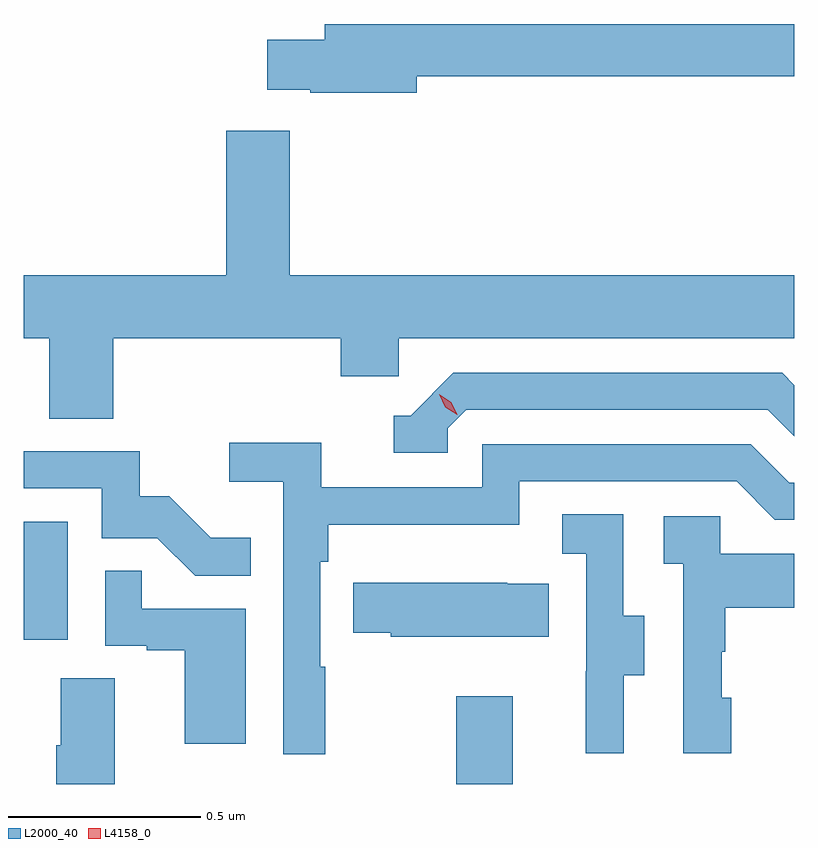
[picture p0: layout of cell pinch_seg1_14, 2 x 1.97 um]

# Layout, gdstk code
import gdstk
lib = gdstk.Library(unit=1e-6, precision=1e-09)
def R(c, l, rs):  # rectangles x0, y0, x1, y1
    for r in rs: c.add(gdstk.rectangle(r[:2], r[2:], *l))
def P(c, l, *ps):  # polygons
    for p in ps: c.add(gdstk.Polygon(p, *l))
L2000_40 = (2000, 40)
L4158_0 = (4158, 0)

pinch_seg1_14 = lib.new_cell('pinch_seg1_14')
R(pinch_seg1_14, L2000_40, [(1124.644,571.888,1124.791,572.116), (1123.522,572.262,1123.636,572.569)])
P(pinch_seg1_14, L2000_40, [(1124.542,573.724),(1125.522,573.724),(1125.522,573.86),(1124.303,573.86),(1124.303,573.819),(1124.154,573.819),(1124.154,573.689),(1124.266,573.689),(1124.266,573.682),(1124.542,573.682)],
  [(1123.754,573.044),(1124.345,573.044),(1124.345,572.946),(1124.496,572.946),(1124.496,573.044),(1125.522,573.044),(1125.522,573.208),(1124.212,573.208),(1124.212,573.583),(1124.048,573.583),(1124.048,573.208),(1123.522,573.208),(1123.522,573.044),(1123.589,573.044),(1123.589,572.836),(1123.754,572.836)],
  [(1124.622,572.811),(1124.67,572.859),(1125.453,572.859),(1125.522,572.79),(1125.522,572.923),(1125.49,572.955),(1124.637,572.955),(1124.526,572.844),(1124.483,572.844),(1124.483,572.748),(1124.622,572.748)],
  [(1124.305,572.192),(1124.292,572.192),(1124.292,572.465),(1124.312,572.465),(1124.312,572.561),(1124.808,572.561),(1124.808,572.673),(1125.372,572.673),(1125.471,572.574),(1125.522,572.574),(1125.522,572.67),(1125.508,572.67),(1125.409,572.769),(1124.712,572.769),(1124.712,572.658),(1124.294,572.658),(1124.294,572.774),(1124.055,572.774),(1124.055,572.672),(1124.196,572.672),(1124.196,571.965),(1124.305,571.965)],
  [(1124.111,572.527),(1124.007,572.527),(1123.9,572.634),(1123.824,572.634),(1123.824,572.751),(1123.522,572.751),(1123.522,572.655),(1123.725,572.655),(1123.725,572.526),(1123.869,572.526),(1123.967,572.428),(1124.111,572.428)],
  [(1125.079,572.17),(1125.133,572.17),(1125.133,572.325),(1125.078,572.325),(1125.078,572.588),(1124.919,572.588),(1124.919,572.485),(1124.982,572.485),(1124.982,572.181),(1124.981,572.181),(1124.981,571.968),(1125.079,571.968)],
  [(1125.358,572.112),(1125.333,572.112),(1125.333,572.231),(1125.343,572.231),(1125.343,572.345),(1125.522,572.345),(1125.522,572.485),(1125.33,572.485),(1125.33,572.583),(1125.183,572.583),(1125.183,572.459),(1125.234,572.459),(1125.234,571.968),(1125.358,571.968)],
  [(1124.098,572.343),(1123.829,572.343),(1123.829,572.441),(1123.734,572.441),(1123.734,572.247),(1123.841,572.247),(1123.841,572.235),(1123.94,572.235),(1123.94,571.992),(1124.098,571.992)],
  [(1124.885,572.407),(1124.777,572.407),(1124.777,572.41),(1124.377,572.41),(1124.377,572.281),(1124.475,572.281),(1124.475,572.27),(1124.885,572.27)],
  [(1123.759,572.162),(1123.619,572.162),(1123.619,571.988),(1123.607,571.988),(1123.607,571.888),(1123.759,571.888)])
P(pinch_seg1_14, L4158_0, [(1124.647,572.846),(1124.616,572.866),(1124.601,572.899),(1124.601,572.899),(1124.601,572.899),(1124.632,572.879),(1124.647,572.846),(1124.647,572.846)])

lib.write_gds('pinch_seg1_14.gds')
